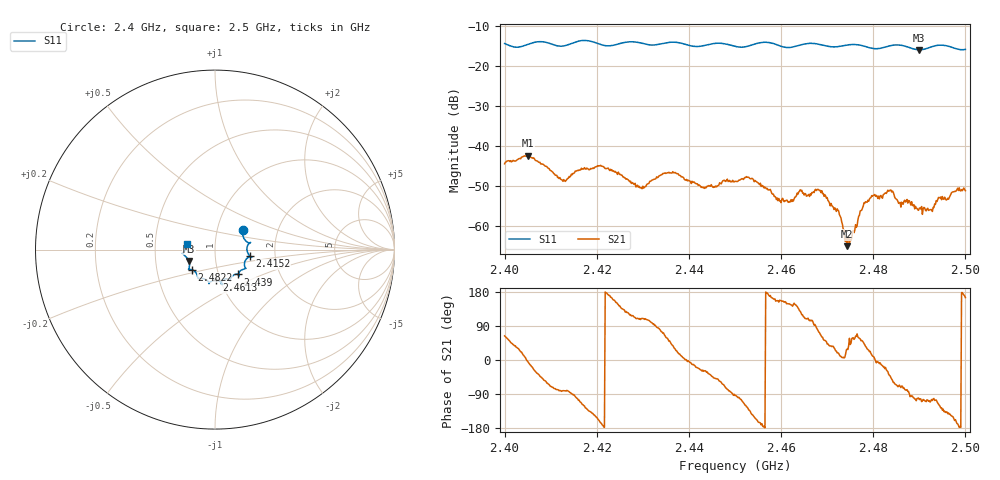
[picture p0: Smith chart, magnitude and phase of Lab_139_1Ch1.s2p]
# Hz S RI R 50
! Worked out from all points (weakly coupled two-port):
!   601 points, 2.4 GHz to 2.5 GHz, reference 50 ohm
!   highest |S21| = -42.42 dB at 2.405 GHz (marker M1); lowest = -65.1 dB at 2.4743 GHz (marker M2)
!   lowest |S11| = -15.9 dB at 2.49 GHz (marker M3), VSWR 1.38, Z = 36.9 - j4.82 ohm
!   |S11| at or under -10 dB: start of sweep to end of sweep
!   S12 and S22 are empty: the file has one direction only
!   S11 on the Smith chart (normalised r, x): 2.4 GHz: 1.33, +0.31; 2.4152 GHz: 1.48, -0.11; 2.439 GHz: 1.24, -0.36; 2.4613 GHz: 0.96, -0.34; 2.4822 GHz: 0.76, -0.17; 2.5 GHz: 0.73, +0.05
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2.4e9  0.1557 0.1116  0.00265 0.00535  0 0  0 0
2.405e9  0.1824 0.0401  0.00756 -0.000387  0 0  0 0
2.412667e9  0.1783 -0.00461  0.000572 -0.00356  0 0  0 0
2.415167e9  0.1951 -0.0363  -0.000302 -0.0046  0 0  0 0
2.416667e9  0.2044 -0.0421  -0.00209 -0.00482  0 0  0 0
2.421e9  0.179 -0.0483  -0.00545 -0.00124  0 0  0 0
2.429833e9  0.1603 -0.108  -0.000983 0.00274  0 0  0 0
2.433333e9  0.1322 -0.1324  0.000384 0.00403  0 0  0 0
2.439e9  0.1285 -0.1387  0.00382 0.000235  0 0  0 0
2.443167e9  0.0897 -0.1565  0.00263 -0.00151  0 0  0 0
2.45e9  0.0686 -0.1633  -0.000228 -0.00361  0 0  0 0
2.453333e9  0.0371 -0.1777  -0.0028 -0.00269  0 0  0 0
2.461333e9  0.00764 -0.1707  -0.00178 0.00108  0 0  0 0
2.466667e9  -0.0332 -0.19  -0.000671 0.00252  0 0  0 0
2.468333e9  -0.0335 -0.1841  0.000844 0.00263  0 0  0 0
2.472167e9  -0.0674 -0.1613  0.00154 0.000527  0 0  0 0
2.474333e9  -0.0885 -0.1612  0.000487 0.000267  0 0  0 0
2.478333e9  -0.0982 -0.1456  0.00162 0.00117  0 0  0 0
2.482167e9  -0.1284 -0.1118  0.00233 -0.000753  0 0  0 0
2.483333e9  -0.1398 -0.1103  0.00216 -0.00164  0 0  0 0
2.49e9  -0.1467 -0.0635  -0.000416 -0.00161  0 0  0 0
2.5e9  -0.1583 0.0333  -0.00265 0.000727  0 0  0 0
